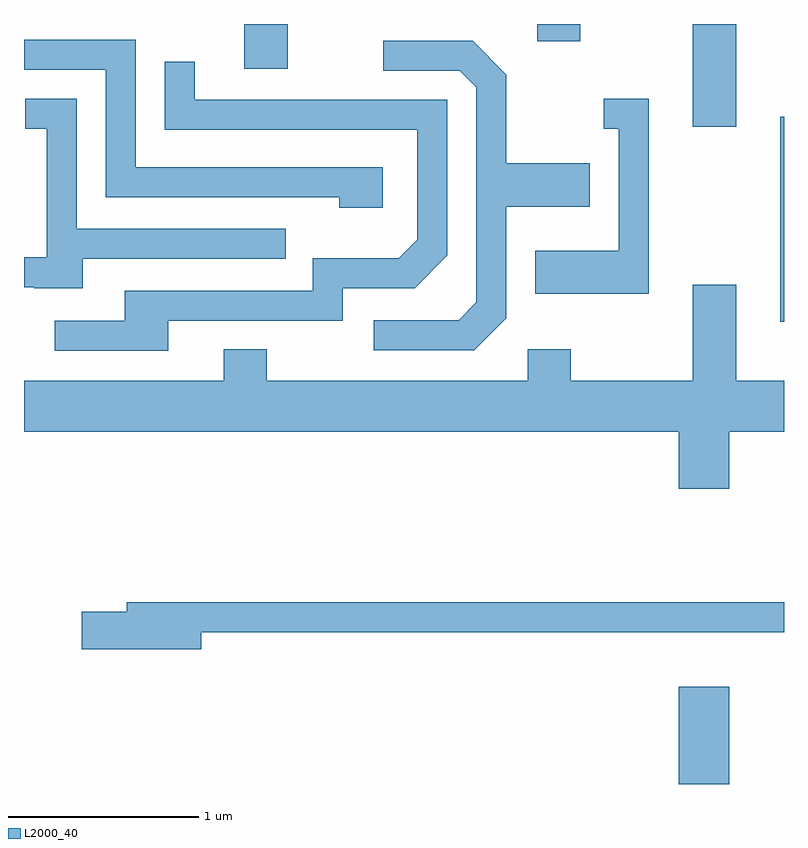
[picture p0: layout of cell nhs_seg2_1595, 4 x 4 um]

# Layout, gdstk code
import gdstk
lib = gdstk.Library(unit=1e-6, precision=1e-09)
def R(c, l, rs):  # rectangles x0, y0, x1, y1
    for r in rs: c.add(gdstk.rectangle(r[:2], r[2:], *l))
def P(c, l, *ps):  # polygons
    for p in ps: c.add(gdstk.Polygon(p, *l))
L2000_40 = (2000, 40)

nhs_seg2_1595 = lib.new_cell('nhs_seg2_1595')
R(nhs_seg2_1595, L2000_40, [(235.056,1039.802,235.324,1040.314), (235.591,1042.236,235.611,1043.314), (235.131,1043.261,235.359,1043.802), (232.771,1043.566,232.999,1043.802), (234.311,1043.711,234.539,1043.802)])
P(nhs_seg2_1595, L2000_40, [(233.499,1043.049),(232.199,1043.049),(232.199,1043.719),(231.611,1043.719),(231.611,1043.561),(232.041,1043.561),(232.041,1042.891),(233.271,1042.891),(233.271,1042.836),(233.499,1042.836)],
  [(234.149,1042.254),(234.149,1042.841),(234.589,1042.841),(234.589,1043.069),(234.149,1043.069),(234.149,1043.536),(233.972,1043.714),(233.503,1043.714),(233.503,1043.556),(233.904,1043.556),(233.991,1043.469),(233.991,1042.337),(233.899,1042.244),(233.453,1042.244),(233.453,1042.086),(233.982,1042.086)],
  [(232.369,1042.241),(233.289,1042.241),(233.289,1042.411),(233.667,1042.411),(233.839,1042.584),(233.839,1043.404),(232.509,1043.404),(232.509,1043.603),(232.351,1043.603),(232.351,1043.246),(233.681,1043.246),(233.681,1042.667),(233.584,1042.569),(233.131,1042.569),(233.131,1042.399),(232.141,1042.399),(232.141,1042.239),(231.773,1042.239),(231.773,1042.081),(232.369,1042.081)],
  [(231.919,1042.566),(232.988,1042.566),(232.988,1042.724),(231.889,1042.724),(231.889,1043.409),(231.618,1043.409),(231.618,1043.251),(231.731,1043.251),(231.731,1042.574),(231.611,1042.574),(231.611,1042.416),(231.665,1042.416),(231.665,1042.411),(231.919,1042.411)],
  [(234.899,1043.409),(234.663,1043.409),(234.663,1043.251),(234.741,1043.251),(234.741,1042.609),(234.301,1042.609),(234.301,1042.381),(234.899,1042.381)],
  [(235.324,1041.656),(235.611,1041.656),(235.611,1041.924),(235.359,1041.924),(235.359,1042.429),(235.131,1042.429),(235.131,1041.924),(234.489,1041.924),(234.489,1042.089),(234.261,1042.089),(234.261,1041.924),(232.889,1041.924),(232.889,1042.089),(232.661,1042.089),(232.661,1041.924),(231.611,1041.924),(231.611,1041.656),(235.056,1041.656),(235.056,1041.356),(235.324,1041.356)],
  [(232.544,1040.601),(235.611,1040.601),(235.611,1040.759),(232.151,1040.759),(232.151,1040.709),(231.916,1040.709),(231.916,1040.511),(232.544,1040.511)])

lib.write_gds('nhs_seg2_1595.gds')
